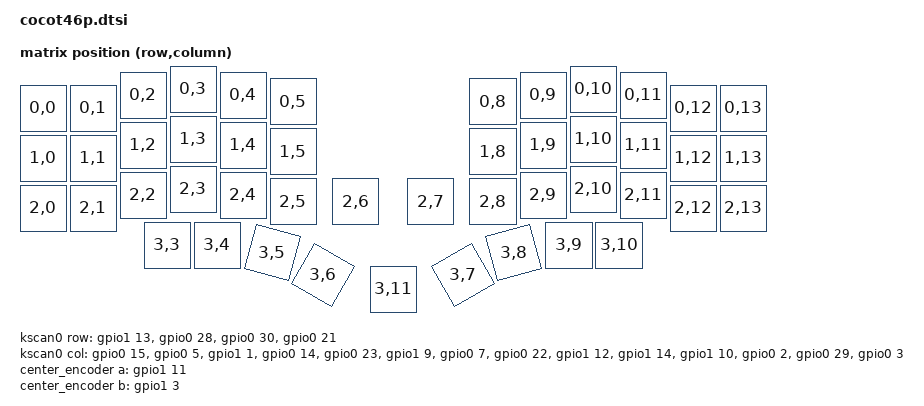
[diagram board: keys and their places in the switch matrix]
/*
 * Copyright (c) 2021 The ZMK Contributors
 *
 * SPDX-License-Identifier: MIT
 */

#include <dt-bindings/zmk/matrix_transform.h>
#include <physical_layouts.dtsi>

/ {
    cocot46p_layout: cocot46p_layout {
        compatible = "zmk,physical-layout";
        display-name = "Cocot46p";
        keys  //                     w   h    x    y     rot    rx    ry
            = <&key_physical_attrs 100 100    0   38       0     0     0>
            , <&key_physical_attrs 100 100  100   38       0     0     0>
            , <&key_physical_attrs 100 100  200   12       0     0     0>
            , <&key_physical_attrs 100 100  300    0       0     0     0>
            , <&key_physical_attrs 100 100  400   12       0     0     0>
            , <&key_physical_attrs 100 100  500   25       0     0     0>
            , <&key_physical_attrs 100 100  900   25       0     0     0>
            , <&key_physical_attrs 100 100 1000   12       0     0     0>
            , <&key_physical_attrs 100 100 1100    0       0     0     0>
            , <&key_physical_attrs 100 100 1200   12       0     0     0>
            , <&key_physical_attrs 100 100 1300   38       0     0     0>
            , <&key_physical_attrs 100 100 1400   38       0     0     0>
            , <&key_physical_attrs 100 100    0  138       0     0     0>
            , <&key_physical_attrs 100 100  100  138       0     0     0>
            , <&key_physical_attrs 100 100  200  112       0     0     0>
            , <&key_physical_attrs 100 100  300  100       0     0     0>
            , <&key_physical_attrs 100 100  400  112       0     0     0>
            , <&key_physical_attrs 100 100  500  125       0     0     0>
            , <&key_physical_attrs 100 100  900  125       0     0     0>
            , <&key_physical_attrs 100 100 1000  112       0     0     0>
            , <&key_physical_attrs 100 100 1100  100       0     0     0>
            , <&key_physical_attrs 100 100 1200  112       0     0     0>
            , <&key_physical_attrs 100 100 1300  138       0     0     0>
            , <&key_physical_attrs 100 100 1400  138       0     0     0>
            , <&key_physical_attrs 100 100    0  238       0     0     0>
            , <&key_physical_attrs 100 100  100  238       0     0     0>
            , <&key_physical_attrs 100 100  200  212       0     0     0>
            , <&key_physical_attrs 100 100  300  200       0     0     0>
            , <&key_physical_attrs 100 100  400  212       0     0     0>
            , <&key_physical_attrs 100 100  500  225       0     0     0>
            , <&key_physical_attrs 100 100  625  225       0     0     0>
            , <&key_physical_attrs 100 100  775  225       0     0     0>
            , <&key_physical_attrs 100 100  900  225       0     0     0>
            , <&key_physical_attrs 100 100 1000  212       0     0     0>
            , <&key_physical_attrs 100 100 1100  200       0     0     0>
            , <&key_physical_attrs 100 100 1200  212       0     0     0>
            , <&key_physical_attrs 100 100 1300  238       0     0     0>
            , <&key_physical_attrs 100 100 1400  238       0     0     0>
            , <&key_physical_attrs 100 100  248  312       0     0     0>
            , <&key_physical_attrs 100 100  348  312       0     0     0>
            , <&key_physical_attrs 100 100  348  312    1500   398   790>
            , <&key_physical_attrs 100 100  348  315    3000   398   790>
            , <&key_physical_attrs 100 100 1052  315 (-3000)  1102   790>
            , <&key_physical_attrs 100 100 1052  312 (-1500)  1102   790>
            , <&key_physical_attrs 100 100 1052  312       0     0     0>
            , <&key_physical_attrs 100 100 1152  312       0     0     0>
            , <&key_physical_attrs 100 100  700  400       0     0     0>
            ;
    };
};

&cocot46p_layout {
    transform = <&default_transform>;
};

/ {
    chosen {
        zmk,kscan = &kscan0;
        zmk,physical-layout = &cocot46p_layout;
        zephyr,display = &oled;
        zmk,underglow = &led_strip;
    };

    default_transform: keymap_transform_0 {
        compatible = "zmk,matrix-transform";
        columns = <14>;
        rows = <4>;
        map = <
RC(0,0) RC(0,1) RC(0,2) RC(0,3) RC(0,4) RC(0,5)                 RC(0,8) RC(0,9) RC(0,10) RC(0,11) RC(0,12) RC(0,13)
RC(1,0) RC(1,1) RC(1,2) RC(1,3) RC(1,4) RC(1,5)                 RC(1,8) RC(1,9) RC(1,10) RC(1,11) RC(1,12) RC(1,13)
RC(2,0) RC(2,1) RC(2,2) RC(2,3) RC(2,4) RC(2,5) RC(2,6) RC(2,7) RC(2,8) RC(2,9) RC(2,10) RC(2,11) RC(2,12) RC(2,13)
                        RC(3,3) RC(3,4) RC(3,5) RC(3,6) RC(3,7) RC(3,8) RC(3,9) RC(3,10) RC(3,11)
        >;
    };

    kscan0: kscan {
        compatible = "zmk,kscan-gpio-matrix";
        label = "KSCAN";
        diode-direction = "col2row";
	wakeup-source;
		col-gpios
			= <&gpio0 15 GPIO_ACTIVE_HIGH>
			, <&gpio0 5 GPIO_ACTIVE_HIGH>
			, <&gpio1 1 GPIO_ACTIVE_HIGH>
			, <&gpio0 14 GPIO_ACTIVE_HIGH>
            , <&gpio0 23 GPIO_ACTIVE_HIGH>
			, <&gpio1 9 GPIO_ACTIVE_HIGH>
			, <&gpio0 7 GPIO_ACTIVE_HIGH>
            , <&gpio0 22 GPIO_ACTIVE_HIGH>
			, <&gpio1 12 GPIO_ACTIVE_HIGH>
			, <&gpio1 14 GPIO_ACTIVE_HIGH>
			, <&gpio1 10 GPIO_ACTIVE_HIGH>
			, <&gpio0 2 GPIO_ACTIVE_HIGH>
            , <&gpio0 29 GPIO_ACTIVE_HIGH>
            , <&gpio0 3 GPIO_ACTIVE_HIGH>
			;
		row-gpios
			= <&gpio1 13 (GPIO_ACTIVE_HIGH | GPIO_PULL_DOWN)>
			, <&gpio0 28 (GPIO_ACTIVE_HIGH | GPIO_PULL_DOWN)>
			, <&gpio0 30  (GPIO_ACTIVE_HIGH | GPIO_PULL_DOWN)>
			, <&gpio0 21 (GPIO_ACTIVE_HIGH | GPIO_PULL_DOWN)>
			;

    };

    ext-power {
        compatible = "zmk,ext-power-generic";
        label = "EXT_POWER";
        control-gpios = <&gpio0 13 GPIO_ACTIVE_HIGH>;
        init-delay-ms = <50>;
    };

     vbatt: vbatt {
        compatible = "zmk,battery-nrf-vddh";
    };

    center_encoder: encoder_center {
		compatible = "alps,ec11";
		label = "CENTER_ENCODER";
		a-gpios = <&gpio1 11 (GPIO_ACTIVE_HIGH | GPIO_PULL_UP)>;
		b-gpios = <&gpio1 3  (GPIO_ACTIVE_HIGH | GPIO_PULL_UP)>;
		resolution = <1>;
        steps = <30>;
		status = "okay";
	};
	sensors {
		compatible = "zmk,keymap-sensors";
		sensors = <&center_encoder>;
	};

};
